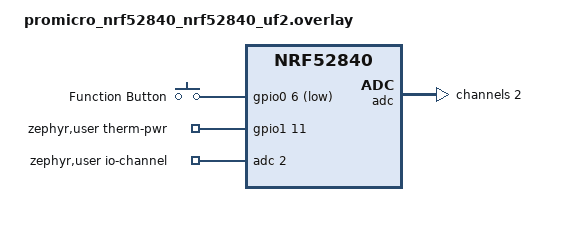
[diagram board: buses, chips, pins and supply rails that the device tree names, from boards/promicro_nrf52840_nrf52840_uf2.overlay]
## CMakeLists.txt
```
#
# Copyright (c) 2021 Nordic Semiconductor ASA
#
# SPDX-License-Identifier: LicenseRef-Nordic-5-Clause
#

cmake_minimum_required(VERSION 3.20.0)

# Out-of-tree board definition (boards/others/promicro_nrf52840) lives in-tree.
list(APPEND BOARD_ROOT ${CMAKE_CURRENT_SOURCE_DIR})

find_package(Zephyr HINTS $ENV{ZEPHYR_BASE})

project(nrf_temp)

# Enable GNU STD support and initialize the Matter Data Model.
include(${ZEPHYR_CONNECTEDHOMEIP_MODULE_DIR}/config/nrfconnect/app/enable-gnu-std.cmake)
include(${ZEPHYR_CONNECTEDHOMEIP_MODULE_DIR}/src/app/chip_data_model.cmake)

# NORDIC SDK APP START

# Include all source files that are located in the Matter common directory.
include(${ZEPHYR_NRF_MODULE_DIR}/samples/matter/common/cmake/source_common.cmake)

target_include_directories(app PRIVATE
    src
    ${CONFIG_NCS_SAMPLE_MATTER_ZAP_FILES_PATH}
)

target_sources(app PRIVATE
    src/app_task.cpp
    src/main.cpp
    src/provisioning.cpp
    src/temperature_sensor.cpp
)

chip_configure_data_model(app
    INCLUDE_SERVER
    BYPASS_IDL
    GEN_DIR ${CONFIG_NCS_SAMPLE_MATTER_ZAP_FILES_PATH}/zap-generated
    ZAP_FILE ${CMAKE_CURRENT_SOURCE_DIR}/${CONFIG_NCS_SAMPLE_MATTER_ZAP_FILES_PATH}/template.zap
)
# NORDIC SDK APP END
```

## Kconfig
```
#
# Copyright (c) 2022 Nordic Semiconductor
#
# SPDX-License-Identifier: LicenseRef-Nordic-5-Clause
#
mainmenu "Matter nRF Connect Temperature Sensor Application"

# Sample configuration used for Thread networking
if NET_L2_OPENTHREAD

choice OPENTHREAD_NORDIC_LIBRARY_CONFIGURATION
	default OPENTHREAD_NORDIC_LIBRARY_MTD
endchoice

choice OPENTHREAD_DEVICE_TYPE
	default OPENTHREAD_MTD
endchoice

# Battery temperature sensor runs as a Thread Sleepy End Device (Matter ICD).
config CHIP_ENABLE_ICD_SUPPORT
	default y

# Reduce Thread TX output power to 0 dBm for the SED.
config OPENTHREAD_DEFAULT_TX_POWER
	int
	default 0

endif # NET_L2_OPENTHREAD

source "${ZEPHYR_CONNECTEDHOMEIP_MODULE_DIR}/config/nrfconnect/chip-module/Kconfig.features"
source "${ZEPHYR_CONNECTEDHOMEIP_MODULE_DIR}/config/nrfconnect/chip-module/Kconfig.defaults"
source "${ZEPHYR_NRF_MODULE_DIR}/samples/matter/common/src/Kconfig"
source "Kconfig.zephyr"
```

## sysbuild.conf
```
#
# Copyright (c) 2024 Nordic Semiconductor
#
# SPDX-License-Identifier: LicenseRef-Nordic-5-Clause
#

SB_CONFIG_MATTER=y

# Single-image UF2 build: no MCUboot (the Adafruit UF2 bootloader on the board
# loads the app directly at 0x26000), and no factory-data generation (the app
# uses built-in test commissioning credentials).
SB_CONFIG_BOOTLOADER_NONE=y
SB_CONFIG_MATTER_FACTORY_DATA_GENERATE=n

# No OTA: sysbuild otherwise forces CONFIG_CHIP_OTA_REQUESTOR=y into the image
# (nrf/sysbuild/CMakeLists.txt), which needs MCUboot/partition-manager symbols.
SB_CONFIG_MATTER_OTA=n
```

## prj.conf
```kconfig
#
# Matter temperature sensor for the Pro Micro / SuperMini nRF52840.
#
# SPDX-License-Identifier: LicenseRef-Nordic-5-Clause
#
# Common defaults come from the shared Matter Kconfig.defaults; this file only
# carries what is specific to this app or overrides a default.

# ---- Matter core --------------------------------------------------------
CONFIG_CHIP=y
CONFIG_CHIP_PROJECT_CONFIG="src/chip_project_config.h"
CONFIG_STD_CPP17=y

# Vendor/Product ID. 0xFFF1 / 0x8000 pair with the built-in test DAC used when
# factory data is disabled (see below).
CONFIG_CHIP_DEVICE_VENDOR_ID=65521
CONFIG_CHIP_DEVICE_PRODUCT_ID=32768

# Start advertising for Matter commissioning automatically on boot.
CONFIG_CHIP_ENABLE_PAIRING_AUTOSTART=y
# Extended announcement, 1 hour window.
CONFIG_CHIP_BLE_EXT_ADVERTISING=y
CONFIG_CHIP_BLE_ADVERTISING_DURATION=60

CONFIG_BT_DEVICE_NAME="MHTempSensor"
CONFIG_THREAD_NAME=y

# BLE controller (nRF SoftDevice Controller) for commissioning. The board
# Kconfig.defconfig also defaults this on, but set it explicitly so the
# zephyr,bt-hci = &bt_hci_sdc device is always built.
CONFIG_BT_CTLR=y
CONFIG_BT_LL_SOFTDEVICE=y

# ---- User interface (LED + external button via the shared board module) --
CONFIG_DK_LIBRARY=y

# ---- Temperature sensor: SAADC + thermistor -----------------------------
CONFIG_ADC=y
CONFIG_GPIO=y

# ---- Sleepy End Device power management ----------------------------------
# Suspend peripheral devices when the CPU sleeps.
CONFIG_PM_DEVICE=y

# ---- Clock: use the internal RC 32k source -------------------------------
# Robust across SuperMini variants (many lack the 32.768 kHz crystal). If YOUR
# board has an LFXO crystal, switch to CONFIG_CLOCK_CONTROL_NRF_K32SRC_XTAL=y
# for better SED battery life.
CONFIG_CLOCK_CONTROL_NRF_K32SRC_RC=y

# ---- Commissioning: test DAC + per-device provisioning -------------------
# We keep the built-in test DAC (VID 0xFFF1 / PID 0x8000, which the hub accepts)
# and do NOT use NCS factory data (CONFIG_CHIP_FACTORY_DATA). Instead a custom
# CommissionableDataProvider (src/provisioning.cpp) reads {discriminator,
# passcode, serial} from the `factory` flash partition and computes the SPAKE2+
# verifier on-device - the same on-device-verifier scheme as the ESP32
# light/button, so one browser tool provisions every device. A blank partition
# falls back to the test setup code 20202021 / discriminator 3840.
CONFIG_CHIP_FACTORY_DATA=n
CONFIG_CHIP_FACTORY_DATA_BUILD=n

# flash_area API to read the `factory` provisioning partition.
CONFIG_FLASH=y
CONFIG_FLASH_MAP=y

# Disable NFC commissioning.
CONFIG_CHIP_NFC_COMMISSIONING=n

# ---- Diagnostics / shell (handy during bring-up over USB CDC) -------------
CONFIG_CHIP_LIB_SHELL=y
CONFIG_NCS_SAMPLE_MATTER_TEST_SHELL=y

# ---- Size / misc ---------------------------------------------------------
CONFIG_USE_SEGGER_RTT=n
CONFIG_RESET_ON_FATAL_ERROR=n
CONFIG_MPU_STACK_GUARD=y

# No MCUboot on the UF2 image -> OTA cannot apply updates, so drop the OTA
# requestor to save flash (the app must fit the 796K UF2 code partition).
CONFIG_CHIP_OTA_REQUESTOR=n

# Tell Matter there is no bootloader (UF2 loads the app directly). Without this
# the CHIP_BOOTLOADER choice defaults to MCUBOOT, which pulls in the DFU image
# manager (flash_img.c) that needs partition-manager symbols we don't have.
CONFIG_CHIP_BOOTLOADER_NONE=y
```

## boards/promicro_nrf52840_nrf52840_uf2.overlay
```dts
/*
 * Application devicetree overlay for the Pro Micro / SuperMini nRF52840
 * temperature sensor.
 *
 *  - button0  : external momentary push-button, wired P0.06 <-> GND.
 *               Used by the shared board module for the hold-to-factory-reset
 *               / re-pair gesture (active-low, internal pull-up).
 *  - led0     : the on-board LED on P0.15 (defined by the board) is the Matter
 *               status / pairing-mode indicator.
 *  - therm    : 10K Type-3 NTC in a divider, sampled on AIN2 (P0.04).
 *  - therm_pwr: P1.11 powers the top of the divider; the firmware drives it
 *               HIGH only while sampling, so the divider draws ~0 between
 *               readings (battery life).
 *
 * Divider wiring (P1.11 -> NTC -> node -> Rfixed -> GND):
 *     P1.11 (THERM_PWR) --[ 10K NTC ]--+--[ 10K fixed ]-- GND
 *                                      |
 *                                   P0.04 (AIN2)
 * so V(node) rises with temperature (NTC falls as it warms).
 */

#include <zephyr/dt-bindings/adc/nrf-saadc.h>
#include <zephyr/dt-bindings/input/input-event-codes.h>

/ {
	buttons {
		compatible = "gpio-keys";

		button0: button_0 {
			gpios = <&gpio0 6 (GPIO_ACTIVE_LOW | GPIO_PULL_UP)>;
			label = "Function Button";
			zephyr,code = <INPUT_KEY_0>;
		};
	};

	zephyr,user {
		io-channels = <&adc 2>;
		/* Firmware drives this HIGH only while sampling the divider. */
		therm-pwr-gpios = <&gpio1 11 GPIO_ACTIVE_HIGH>;
	};

	aliases {
		sw0 = &button0;
		mcuboot-button0 = &button0;
	};
};

&adc {
	status = "okay";
	#address-cells = <1>;
	#size-cells = <0>;

	/*
	 * AIN2 == P0.04, the divider midpoint. Ratiometric against VDD:
	 * reference = VDD/4, gain 1/4  ->  full-scale = VDD, so raw/4095 is the
	 * divider ratio V(node)/VDD directly, independent of the battery voltage.
	 */
	channel@2 {
		reg = <2>;
		zephyr,gain = "ADC_GAIN_1_4";
		zephyr,reference = "ADC_REF_VDD_1_4";
		zephyr,acquisition-time = <ADC_ACQ_TIME(ADC_ACQ_TIME_MICROSECONDS, 40)>;
		zephyr,input-positive = <NRF_SAADC_AIN2>;
		zephyr,resolution = <12>;
		zephyr,oversampling = <4>;
	};
};
```

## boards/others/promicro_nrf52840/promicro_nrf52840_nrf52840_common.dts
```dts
/*
 * Copyright (c) 2024 MASSDRIVER EI (massdriver.space)
 * Copyright (c) 2018-2023 Nordic Semiconductor ASA
 * Copyright (c) 2017 Linaro Limited
 *
 * SPDX-License-Identifier: Apache-2.0
 */

/dts-v1/;
#include <nordic/nrf52840_qiaa.dtsi>
#include "promicro_nrf52840-pinctrl.dtsi"
#include <zephyr/dt-bindings/input/input-event-codes.h>

/ {
	model = "Pro Micro nRF52840";
	compatible = "others,promicro-nrf52840";

	chosen {
		zephyr,console = &usb_cdc_acm_uart;
		zephyr,shell-uart = &usb_cdc_acm_uart;
		zephyr,sram = &sram0;
		zephyr,flash = &flash0;
		zephyr,ieee802154 = &ieee802154;
	};

	leds {
		compatible = "gpio-leds";

		led0: led_0 {
			gpios = <&gpio0 15 GPIO_ACTIVE_HIGH>;
			label = "Blue LED";
		};
	};

	pwmleds {
		compatible = "pwm-leds";

		blue_pwm_led: led_pwm_0 {
			pwms = <&pwm0 0 PWM_MSEC(20) PWM_POLARITY_INVERTED>;
			label = "Blue PWM LED";
		};
	};

	aliases {
		led0 = &led0;
		pwm-led0 = &blue_pwm_led;
		watchdog0 = &wdt0;
	};
};

&adc {
	status = "okay";
};

&gpiote {
	status = "okay";
};

&uicr {
	nfct-pins-as-gpios;
	gpio-as-nreset;
};

&gpio0 {
	status = "okay";
};

&gpio1 {
	status = "okay";
};

&uart0 {
	compatible = "nordic,nrf-uarte";
	status = "okay";
	current-speed = <115200>;
	pinctrl-0 = <&uart0_default>;
	pinctrl-1 = <&uart0_sleep>;
	pinctrl-names = "default", "sleep";
};

&i2c0 {
	compatible = "nordic,nrf-twi";
	status = "okay";
	pinctrl-0 = <&i2c0_default>;
	pinctrl-1 = <&i2c0_sleep>;
	pinctrl-names = "default", "sleep";
};

&pwm0 {
	status = "okay";
	pinctrl-0 = <&pwm0_default>;
	pinctrl-1 = <&pwm0_sleep>;
	pinctrl-names = "default", "sleep";
};

&spi2 {
	compatible = "nordic,nrf-spi";
	status = "okay";
	pinctrl-0 = <&spi2_default>;
	pinctrl-1 = <&spi2_sleep>;
	pinctrl-names = "default", "sleep";
};

&ieee802154 {
	status = "okay";
};

zephyr_udc0: &usbd {
	compatible = "nordic,nrf-usbd";
	status = "okay";

	usb_cdc_acm_uart: cdc-acm-uart {
		compatible = "zephyr,cdc-acm-uart";
	};
};
```

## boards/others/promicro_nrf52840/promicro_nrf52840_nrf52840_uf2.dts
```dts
/*
 * Copyright (c) 2024 MASSDRIVER EI (massdriver.space)
 *
 * SPDX-License-Identifier: Apache-2.0
 *
 * Pro Micro / SuperMini nRF52840 with the Adafruit nRF52 UF2 bootloader.
 *
 * NCS v2.9.3's Zephyr does not ship nordic/nrf52840_partition_uf2_sdv6.dtsi, so
 * the standard Adafruit "SoftDevice v6" UF2 flash layout is inlined here:
 *   - 0x00000000..0x00026000 (152K) reserved (SoftDevice region the UF2
 *     bootloader expects; unused by Zephyr but the app MUST start at 0x26000).
 *   - 0x00026000 (796K) Application   -> code_partition (UF2 flashes here).
 *   - 0x000ed000 (24K)  storage       -> Matter settings (NVS).
 *   - 0x000f3000 (4K)   factory       -> per-device provisioning blob.
 *   - 0x000f4000 (48K)  UF2 bootloader (read-only).
 */

/dts-v1/;
#include "promicro_nrf52840_nrf52840_common.dts"

/ {
	chosen {
		zephyr,sram = &sram0;
		zephyr,flash = &flash0;
		zephyr,code-partition = &code_partition;
	};
};

&flash0 {
	partitions {
		compatible = "fixed-partitions";
		#address-cells = <1>;
		#size-cells = <1>;

		reserved_partition_0: partition@0 {
			label = "SoftDevice";
			read-only;
			reg = <0x000000000 DT_SIZE_K(152)>;
		};

		code_partition: partition@26000 {
			label = "Application";
			reg = <0x00026000 DT_SIZE_K(796)>;
		};

		/*
		 * 0x000ed000..0x000f3000 (24K) — application settings/NVS store
		 * (Matter commissioning data, fabrics, ...).
		 */
		storage_partition: partition@ed000 {
			label = "storage";
			reg = <0x0000ed000 DT_SIZE_K(24)>;
		};

		/*
		 * 0x000f3000..0x000f4000 (one 4K page) — per-device provisioning
		 * blob {discriminator, passcode, serial}. The browser provisioning
		 * tool writes it as a SEPARATE UF2 targeting this fixed offset, so a
		 * unit can be (re)provisioned without touching the app. Blank (0xFF)
		 * -> firmware falls back to the compiled-in test creds.
		 */
		factory_partition: partition@f3000 {
			label = "factory";
			reg = <0x0000f3000 DT_SIZE_K(4)>;
		};

		boot_partition: partition@f4000 {
			label = "UF2";
			read-only;
			reg = <0x000f4000 DT_SIZE_K(48)>;
		};
	};
};
```

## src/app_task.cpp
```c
/*
 * Copyright (c) 2021 Nordic Semiconductor ASA
 *
 * SPDX-License-Identifier: LicenseRef-Nordic-5-Clause
 */

#include "app_task.h"
#include "provisioning.h"
#include "temperature_sensor.h"

#include "app/matter_init.h"
#include "app/task_executor.h"
#include "board/board.h"
#include "lib/core/CHIPError.h"
#include "lib/support/CodeUtils.h"

#ifdef CONFIG_CHIP_OTA_REQUESTOR
#include "dfu/ota/ota_util.h"
#endif

#include <app/server/OnboardingCodesUtil.h>

#include <zephyr/logging/log.h>

LOG_MODULE_DECLARE(app, CONFIG_CHIP_APP_LOG_LEVEL);

using namespace ::chip;
using namespace ::chip::app;
using namespace ::chip::DeviceLayer;

CHIP_ERROR AppTask::Init()
{
	/* Initialize Matter stack. The pre-server-init callback registers a custom
	 * CommissionableDataProvider that pulls this unit's discriminator/passcode
	 * from the `factory` partition (per-device provisioning), before Server::Init
	 * reads them. Blank partition -> compiled-in test creds. */
	Nrf::Matter::InitData initData;
	initData.mPreServerInitClbk = ProvisioningPreServerInit;
	ReturnErrorOnFailure(Nrf::Matter::PrepareServer(initData));

	if (!Nrf::GetBoard().Init()) {
		LOG_ERR("User interface initialization failed.");
		return CHIP_ERROR_INCORRECT_STATE;
	}

	/* Register Matter event handler that controls the connectivity status LED based on the captured Matter network
	 * state. */
	ReturnErrorOnFailure(Nrf::Matter::RegisterEventHandler(Nrf::Board::DefaultMatterEventHandler, 0));

	ReturnErrorOnFailure(Nrf::Matter::StartServer());

	/* Begin periodic thermistor sampling -> TemperatureMeasurement cluster. */
	TemperatureSensorInit();

	return CHIP_NO_ERROR;
}

CHIP_ERROR AppTask::StartApp()
{
	ReturnErrorOnFailure(Init());

	while (true) {
		Nrf::DispatchNextTask();
	}

	return CHIP_NO_ERROR;
}
```

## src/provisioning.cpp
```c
/*
 * Per-device provisioning (see provisioning.h). Reads the fixed 64-byte blob the
 * browser provisioning tool writes at offset 0 of the `factory` partition and
 * exposes {discriminator, passcode, verifier} to Matter. Identical blob layout,
 * salt and iteration count to the ESP32 light/button, so one tool serves all.
 */
#include "provisioning.h"

#include <cstring>

#include <zephyr/devicetree.h>
#include <zephyr/drivers/flash.h>
#include <zephyr/logging/log.h>

#include <platform/CommissionableDataProvider.h>
#include <crypto/CHIPCryptoPAL.h>
#include <lib/support/Span.h>
#include <lib/support/CodeUtils.h>

LOG_MODULE_DECLARE(app, CONFIG_CHIP_APP_LOG_LEVEL);

using namespace chip;

#define PROV_MAGIC 0x50524F56u /* 'PROV' */

/* The `factory` partition, read by absolute flash offset via the nRF flash
 * controller. We go directly to the flash driver (not the flash_area / PM API)
 * because NCS's Partition Manager only exposes FIXED_PARTITION_ID for
 * PM-managed partitions, and this UF2 build partitions purely in devicetree. */
#define FACTORY_NODE DT_NODELABEL(factory_partition)

/* Fixed layout the HTML provisioning tool writes at offset 0 of `factory`
 * (little-endian; see buildFctry() in prov-template.html). */
typedef struct __attribute__((packed)) {
	uint32_t magic;         /* PROV_MAGIC                     */
	uint16_t version;       /* 1                              */
	uint16_t discriminator; /* 0..4095                        */
	uint32_t passcode;      /* 1..99999998 (valid Matter PIN) */
	char serial[33];        /* NUL-terminated                 */
	uint8_t reserved[17];   /* pad                            */
} prov_blob_t;

/* Shared salt + iteration count. The verifier still differs per device because
 * the passcode differs; the commissioner receives this salt/iterations during
 * PASE, so only the passcode has to be on the label/QR. Byte-identical to the
 * ESP32 firmware ("PJoshua-Matter-Prov-Salt-v1.0!!!"). */
static const uint8_t kSalt[32] = {
	0x50, 0x4a, 0x6f, 0x73, 0x68, 0x75, 0x61, 0x2d, 0x4d, 0x61, 0x74, 0x74, 0x65, 0x72, 0x2d, 0x50,
	0x72, 0x6f, 0x76, 0x2d, 0x53, 0x61, 0x6c, 0x74, 0x2d, 0x76, 0x31, 0x2e, 0x30, 0x21, 0x21, 0x21
};
static const uint32_t kIter = 1000;

static uint16_t s_disc = 3840; /* test defaults if unprovisioned */
static uint32_t s_pass = 20202021;
static char s_serial[33] = { 0 };
static bool s_provisioned = false;

class ProvCommissionableDataProvider : public DeviceLayer::CommissionableDataProvider {
public:
	CHIP_ERROR GetSetupDiscriminator(uint16_t &v) override
	{
		v = s_disc;
		return CHIP_NO_ERROR;
	}
	CHIP_ERROR SetSetupDiscriminator(uint16_t) override { return CHIP_ERROR_NOT_IMPLEMENTED; }
	CHIP_ERROR GetSpake2pIterationCount(uint32_t &c) override
	{
		c = kIter;
		return CHIP_NO_ERROR;
	}
	CHIP_ERROR GetSpake2pSalt(MutableByteSpan &buf) override
	{
		VerifyOrReturnError(buf.size() >= sizeof(kSalt), CHIP_ERROR_BUFFER_TOO_SMALL);
		memcpy(buf.data(), kSalt, sizeof(kSalt));
		buf.reduce_size(sizeof(kSalt));
		return CHIP_NO_ERROR;
	}
	CHIP_ERROR GetSpake2pVerifier(MutableByteSpan &buf, size_t &outLen) override
	{
		Crypto::Spake2pVerifier verifier;
		ReturnErrorOnFailure(verifier.Generate(kIter, ByteSpan(kSalt, sizeof(kSalt)), s_pass));
		ReturnErrorOnFailure(verifier.Serialize(buf));
		outLen = buf.size();
		return CHIP_NO_ERROR;
	}
	CHIP_ERROR GetSetupPasscode(uint32_t &v) override
	{
		v = s_pass;
		return CHIP_NO_ERROR;
	}
	CHIP_ERROR SetSetupPasscode(uint32_t) override { return CHIP_ERROR_NOT_IMPLEMENTED; }
};

static ProvCommissionableDataProvider s_provider;

CHIP_ERROR ProvisioningPreServerInit()
{
	const struct device *flash = DEVICE_DT_GET(DT_NODELABEL(flash_controller));
	if (device_is_ready(flash)) {
		prov_blob_t blob;
		int rc = flash_read(flash, DT_REG_ADDR(FACTORY_NODE), &blob, sizeof(blob));
		if (rc == 0 && blob.magic == PROV_MAGIC && blob.discriminator <= 0x0FFF &&
		    blob.passcode >= 1 && blob.passcode <= 99999998) {
			s_disc = blob.discriminator;
			s_pass = blob.passcode;
			blob.serial[sizeof(blob.serial) - 1] = '\0';
			if (blob.serial[0]) {
				strncpy(s_serial, blob.serial, sizeof(s_serial) - 1);
			}
			s_provisioned = true;
			LOG_INF("Provisioned from factory: discriminator=%u passcode=%08u serial=%s", s_disc,
				(unsigned) s_pass, s_serial);
		}
	}
	if (!s_provisioned) {
		LOG_WRN("factory partition blank - using test creds (discriminator=%u)", s_disc);
	}

	DeviceLayer::SetCommissionableDataProvider(&s_provider);
	return CHIP_NO_ERROR;
}

uint16_t ProvisioningDiscriminator()
{
	return s_disc;
}
const char *ProvisioningSerial()
{
	return s_serial;
}
bool ProvisioningIsProvisioned()
{
	return s_provisioned;
}
```

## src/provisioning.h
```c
/*
 * Per-device provisioning for the nRF52840 temperature sensor.
 *
 * Reads {discriminator, passcode, serial} from the `factory` flash partition and
 * feeds them to Matter through a custom CommissionableDataProvider. The SPAKE2+
 * verifier is computed on-device from the stored passcode + a fixed salt, so the
 * browser provisioning tool only has to write three small values (no crypto in
 * the browser) as a tiny UF2 that targets the factory partition. Falls back to
 * the compiled-in test defaults (20202021 / 3840) when the partition is blank.
 *
 * This mirrors the ESP32 light/button `provisioning.cpp` byte-for-byte, so the
 * one browser tool provisions every device family.
 */
#pragma once

#include <lib/core/CHIPError.h>
#include <cstdint>

/* Read the factory partition and register the custom CommissionableDataProvider.
 * Call from Nrf::Matter::InitData::mPreServerInitClbk, i.e. before Server::Init. */
CHIP_ERROR ProvisioningPreServerInit();

uint16_t    ProvisioningDiscriminator();
const char *ProvisioningSerial();
bool        ProvisioningIsProvisioned();
```

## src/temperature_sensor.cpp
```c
/*
 * Temperature sensor: 10K Type-3 NTC on the SAADC -> Matter
 * TemperatureMeasurement::MeasuredValue (endpoint 1).
 *
 * SPDX-License-Identifier: LicenseRef-Nordic-5-Clause
 */

#include "temperature_sensor.h"

#include <zephyr/kernel.h>
#include <zephyr/drivers/adc.h>
#include <zephyr/drivers/gpio.h>
#include <zephyr/logging/log.h>

#include <platform/CHIPDeviceLayer.h>
#include <app-common/zap-generated/attributes/Accessors.h>

#include <cmath>

LOG_MODULE_REGISTER(temp_sensor, CONFIG_CHIP_APP_LOG_LEVEL);

using namespace chip;
using namespace chip::app::Clusters;

/* ---- Sensor / circuit constants (tune here) ----------------------------- */
namespace
{
constexpr EndpointId kTempEndpoint = 1;

/* 10K Type-3 NTC: 10 kOhm @ 25 C, Beta(25/85) ~= 3976 K.
 * Beta model is accurate to ~+/-0.5 C near room temperature; swap for an R-T
 * lookup table if you need the full Type-3 curve across a wide range. */
constexpr double kR0Ohms   = 10000.0; /* NTC resistance at T0 */
constexpr double kT0Kelvin = 298.15;  /* 25 C */
constexpr double kBeta     = 3976.0;  /* Type-3 */
constexpr double kRFixedOhms = 10000.0; /* lower divider resistor to GND */

constexpr int kAdcMaxCode = (1 << 12) - 1; /* 12-bit resolution */

constexpr uint32_t kSampleIntervalS = 30;
constexpr uint32_t kFirstSampleS = 5;
constexpr uint32_t kPowerSettleMs = 3;

/* Divider midpoint on AIN2 and the GPIO that powers the divider top. */
const struct adc_dt_spec sAdcTherm = ADC_DT_SPEC_GET_BY_IDX(DT_PATH(zephyr_user), 0);
const struct gpio_dt_spec sThermPwr =
	GPIO_DT_SPEC_GET(DT_PATH(zephyr_user), therm_pwr_gpios);
} /* namespace */

bool TemperatureSensorReadCenti(int16_t *centi)
{
	if (!device_is_ready(sAdcTherm.dev) || !gpio_is_ready_dt(&sThermPwr)) {
		return false;
	}

	/* Power the divider only for the measurement (battery life). */
	gpio_pin_set_dt(&sThermPwr, 1);
	k_msleep(kPowerSettleMs);

	int16_t raw = 0;
	struct adc_sequence seq = {
		.buffer = &raw,
		.buffer_size = sizeof(raw),
	};
	(void)adc_sequence_init_dt(&sAdcTherm, &seq);
	int err = adc_read_dt(&sAdcTherm, &seq);

	gpio_pin_set_dt(&sThermPwr, 0);

	if (err) {
		LOG_ERR("ADC read failed (%d)", err);
		return false;
	}
	if (raw <= 0 || raw >= kAdcMaxCode) {
		/* Open/short divider or sensor absent. */
		LOG_WRN("thermistor reading out of range (raw=%d) - sensor wired?", raw);
		return false;
	}

	/* Ratiometric: ratio = V(node)/VDD = raw / full-scale.
	 * Divider is PWR -> NTC -> node -> RFixed -> GND, so
	 *   ratio = RFixed / (Rntc + RFixed)  ->  Rntc = RFixed * (1 - ratio)/ratio. */
	const double ratio = static_cast<double>(raw) / static_cast<double>(kAdcMaxCode);
	const double rNtc = kRFixedOhms * (1.0 - ratio) / ratio;

	/* Beta equation: 1/T = 1/T0 + (1/Beta) * ln(Rntc / R0). */
	const double tKelvin = 1.0 / (1.0 / kT0Kelvin + (1.0 / kBeta) * std::log(rNtc / kR0Ohms));
	const double tCelsius = tKelvin - 273.15;

	*centi = static_cast<int16_t>(std::lround(tCelsius * 100.0));
	return true;
}

static void SampleWorkHandler(struct k_work *work)
{
	int16_t centi;
	if (!TemperatureSensorReadCenti(&centi)) {
		return;
	}

	chip::DeviceLayer::PlatformMgr().LockChipStack();
	TemperatureMeasurement::Attributes::MeasuredValue::Set(kTempEndpoint, centi);
	chip::DeviceLayer::PlatformMgr().UnlockChipStack();

	int whole = centi / 100;
	int frac = centi % 100;
	if (frac < 0) {
		frac = -frac;
	}
	LOG_INF("temperature = %d.%02d C", whole, frac);
}

K_WORK_DEFINE(sSampleWork, SampleWorkHandler);

static void SampleTimerHandler(struct k_timer *timer)
{
	k_work_submit(&sSampleWork);
}

K_TIMER_DEFINE(sSampleTimer, SampleTimerHandler, nullptr);

void TemperatureSensorInit(void)
{
	if (adc_channel_setup_dt(&sAdcTherm) != 0) {
		LOG_ERR("ADC channel setup failed");
	}
	if (gpio_is_ready_dt(&sThermPwr)) {
		gpio_pin_configure_dt(&sThermPwr, GPIO_OUTPUT_INACTIVE);
	}
	k_timer_start(&sSampleTimer, K_SECONDS(kFirstSampleS), K_SECONDS(kSampleIntervalS));
	LOG_INF("temperature sensor started (every %u s)", kSampleIntervalS);
}
```

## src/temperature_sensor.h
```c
/*
 * Temperature sensor for the Matter temperature-measurement endpoint.
 *
 * Reads a 10K Type-3 NTC thermistor in a resistor divider through the
 * nRF52840 SAADC (ratiometric against VDD) and drives the Matter
 * TemperatureMeasurement::MeasuredValue attribute on endpoint 1.
 *
 * SPDX-License-Identifier: LicenseRef-Nordic-5-Clause
 */
#pragma once

#include <stdbool.h>
#include <stdint.h>

/* Start periodic sampling; posts each reading to the Matter attribute.
 * Call once after the Matter server has started. */
void TemperatureSensorInit(void);

/* Take one blocking reading. Returns true and *centi = temperature in
 * hundredths of a degree Celsius (Matter units), or false on error. */
bool TemperatureSensorReadCenti(int16_t *centi);
```
